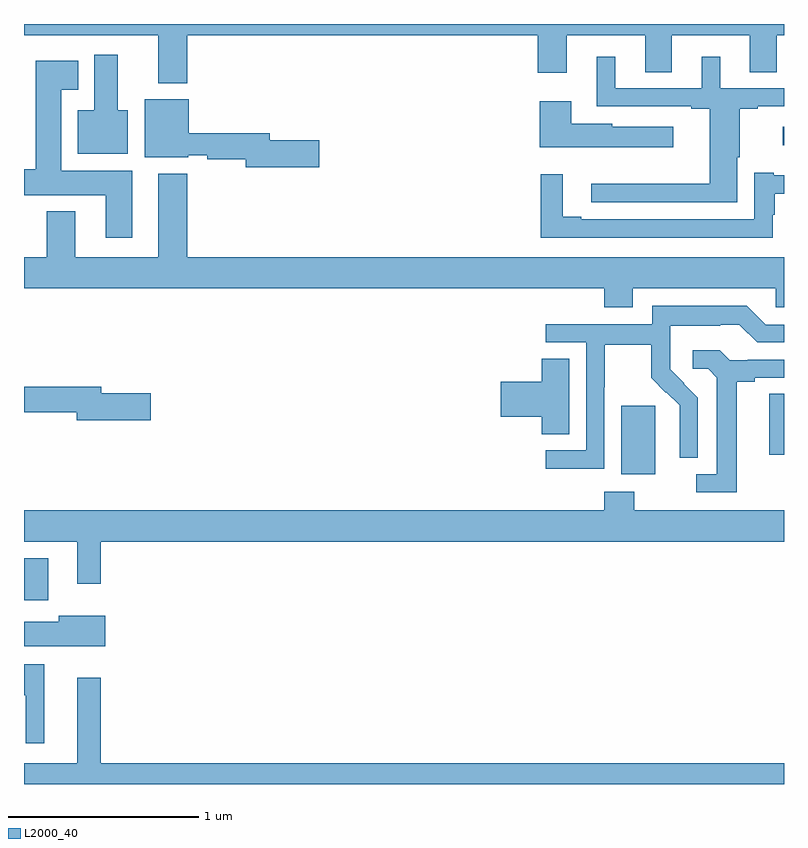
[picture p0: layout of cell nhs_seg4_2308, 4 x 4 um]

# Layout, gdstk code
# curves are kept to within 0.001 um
import gdstk
lib = gdstk.Library(unit=1e-6, precision=1e-09)
def R(c, l, rs):  # rectangles x0, y0, x1, y1
    for r in rs: c.add(gdstk.rectangle(r[:2], r[2:], *l))
def P(c, l, *ps):  # polygons
    for p in ps: c.add(gdstk.Polygon(p, *l))
L2000_40 = (2000, 40)

nhs_seg4_2308 = lib.new_cell('nhs_seg4_2308')
R(nhs_seg4_2308, L2000_40, [(231,773.867,231.127,774.088), (234.143,774.53,234.322,774.891), (234.923,774.633,235,774.953), (234.993,776.261,235,776.358)])
P(nhs_seg4_2308, L2000_40, [(231.86,776.84),(233.705,776.84),(233.705,776.643),(233.857,776.643),(233.857,776.84),(234.269,776.84),(234.269,776.647),(234.409,776.647),(234.409,776.84),(234.821,776.84),(234.821,776.647),(234.961,776.647),(234.961,776.84),(235,776.84),(235,776.9),(231,776.9),(231,776.84),(231.707,776.84),(231.707,776.588),(231.86,776.588)],
  [(231.547,776.446),(231.493,776.446),(231.493,776.737),(231.371,776.737),(231.371,776.446),(231.284,776.446),(231.284,776.216),(231.547,776.216)],
  [(234.754,776.199),(234.766,776.199),(234.766,776.454),(234.862,776.454),(234.862,776.466),(235,776.466),(235,776.562),(234.664,776.562),(234.664,776.728),(234.566,776.728),(234.566,776.562),(234.112,776.562),(234.112,776.728),(234.014,776.728),(234.014,776.466),(234.512,776.466),(234.512,776.454),(234.608,776.454),(234.608,776.06),(233.985,776.06),(233.985,775.962),(234.754,775.962)],
  [(231.571,776.128),(231.196,776.128),(231.196,776.555),(231.286,776.555),(231.286,776.707),(231.062,776.707),(231.062,776.135),(231,776.135),(231,776),(231.431,776),(231.431,775.776),(231.571,775.776)],
  [(232.555,776.288),(232.294,776.288),(232.294,776.324),(231.868,776.324),(231.868,776.503),(231.635,776.503),(231.635,776.198),(231.864,776.198),(231.864,776.208),(231.964,776.208),(231.964,776.188),(232.166,776.188),(232.166,776.146),(232.555,776.146)],
  [(234.418,776.359),(234.096,776.359),(234.096,776.374),(233.881,776.374),(233.881,776.494),(233.714,776.494),(233.714,776.252),(234.418,776.252)],
  [(234.94,775.895),(234.952,775.895),(234.952,776.006),(235,776.006),(235,776.104),(234.946,776.104),(234.946,776.116),(234.843,776.116),(234.843,775.872),(233.932,775.872),(233.932,775.885),(233.836,775.885),(233.836,776.11),(233.719,776.11),(233.719,775.776),(234.94,775.776)],
  [(234.205,775.508),(234.957,775.508),(234.957,775.41),(235,775.41),(235,775.672),(231.86,775.672),(231.86,776.113),(231.707,776.113),(231.707,775.672),(231.271,775.672),(231.271,775.915),(231.119,775.915),(231.119,775.672),(231,775.672),(231,775.508),(234.053,775.508),(234.053,775.409),(234.205,775.409)],
  [(234.054,774.988),(234.057,774.988),(234.057,775.212),(234.301,775.212),(234.301,775.037),(234.378,774.96),(234.381,774.963),(234.452,774.893),(234.452,774.77),(234.45,774.77),(234.45,774.616),(234.546,774.616),(234.546,774.934),(234.4,775.082),(234.4,775.179),(234.402,775.179),(234.402,775.313),(234.665,775.313),(234.665,775.317),(234.765,775.317),(234.858,775.224),(235,775.224),(235,775.317),(234.903,775.317),(234.803,775.417),(234.306,775.417),(234.306,775.32),(233.745,775.32),(233.745,775.224),(233.958,775.224),(233.958,774.657),(233.745,774.657),(233.745,774.559),(234.054,774.559)],
  [(234.751,775.016),(234.847,775.016),(234.847,775.038),(235,775.038),(235,775.134),(234.808,775.134),(234.808,775.131),(234.714,775.131),(234.662,775.183),(234.519,775.183),(234.519,775.086),(234.6,775.086),(234.647,775.039),(234.647,774.531),(234.537,774.531),(234.537,774.435),(234.751,774.435)],
  [(233.869,775.139),(233.726,775.139),(233.726,775.016),(233.508,775.016),(233.508,774.833),(233.726,774.833),(233.726,774.742),(233.869,774.742)],
  [(231.667,774.956),(231.406,774.956),(231.406,774.992),(231,774.992),(231,774.856),(231.278,774.856),(231.278,774.814),(231.667,774.814)],
  [(231.403,774.176),(235,774.176),(235,774.34),(234.213,774.34),(234.213,774.439),(234.053,774.439),(234.053,774.34),(231,774.34),(231,774.176),(231.281,774.176),(231.281,773.955),(231.403,773.955)],
  [(231.427,773.785),(231.182,773.785),(231.182,773.753),(231,773.753),(231,773.624),(231.427,773.624)],
  [(231.106,773.53),(231,773.53),(231,773.366),(231.008,773.366),(231.008,773.115),(231.106,773.115)],
  [(235,773.008),(231.403,773.008),(231.403,773.458),(231.281,773.458),(231.281,773.008),(231,773.008),(231,772.9),(235,772.9)])

lib.write_gds('nhs_seg4_2308.gds')
